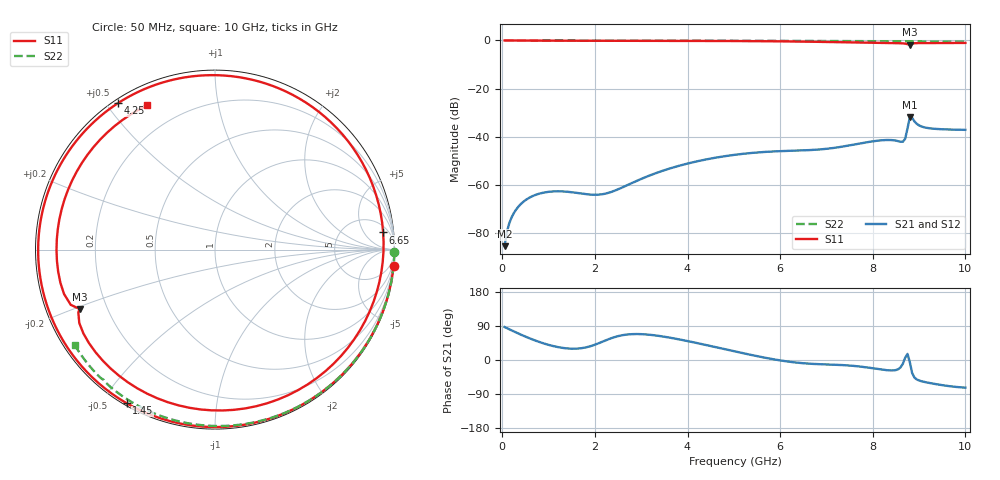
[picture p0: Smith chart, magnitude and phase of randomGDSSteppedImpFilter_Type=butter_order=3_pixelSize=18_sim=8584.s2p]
! freq	dB(S11)	phase(S11)	dB(S12)	phase(S12)
!  dB(S21)	phase(S21)	dB(S22)	phase(S22)
!S-par simulation data
#  GHz  S  DB  R 50
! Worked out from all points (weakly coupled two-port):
!   200 points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, 50 MHz to 10 GHz, reference 50 ohm
!   highest |S21| = -31.89 dB at 8.8 GHz (marker M1); lowest = -85.3 dB at 50 MHz (marker M2)
!   lowest |S11| = -1.7 dB at 8.8 GHz (marker M3), VSWR 10.37, Z = 5.03 - j10.4 ohm
!   |S11| at or under -10 dB: nowhere
!   |S22| runs from -0.5 to 0.0 dB; largest |S21 - S12| = 0
!   S11 on the Smith chart (normalised r, x): 50 MHz: 0, -22; 1.45 GHz: 0.01, -0.58; 4.25 GHz: 0.01, +0.54; 6.65 GHz: 9, +15; 10 GHz: 0.08, +0.63
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0.05  -0.00 -5.1  -85.34 87.0  -85.34 87.0  -0.00 -0.9
0.35  -0.05 -35.1  -68.89 69.7  -68.89 69.7  -0.01 -5.9
0.7  -0.08 -66.8  -64.19 51.9  -64.19 51.9  -0.02 -11.8
1.05  -0.10 -94.1  -62.69 38.3  -62.69 38.3  -0.02 -17.7
1.45  -0.11 -119.9  -62.85 30.1  -62.85 30.1  -0.03 -24.3
1.75  -0.11 -136.4  -63.62 31.9  -63.62 31.9  -0.04 -29.2
2.5  -0.12 -170.5  -61.75 63.0  -61.75 63.0  -0.05 -41.4
3.4  -0.15 155.1  -54.47 63.3  -54.47 63.3  -0.07 -55.5
4.25  -0.19 123.6  -49.96 43.6  -49.96 43.6  -0.10 -68.4
5.05  -0.25 91.2  -47.36 21.9  -47.36 21.9  -0.12 -80.2
5.85  -0.34 53.0  -46.05 2.0  -46.05 2.0  -0.16 -91.5
6.65  -0.52 5.8  -45.47 -9.9  -45.47 -9.9  -0.20 -102.4
6.7  -0.54 2.5  -45.42 -10.2  -45.42 -10.2  -0.20 -103.1
7.15  -0.68 -29.0  -44.60 -12.3  -44.60 -12.3  -0.23 -109.1
7.65  -0.86 -67.2  -42.99 -16.3  -42.99 -16.3  -0.26 -115.7
8  -0.97 -95.1  -41.84 -21.8  -41.84 -21.8  -0.29 -120.3
8.35  -1.07 -123.3  -41.29 -27.4  -41.29 -27.4  -0.32 -124.8
8.65  -1.22 -147.5  -42.04 -9.8  -42.04 -9.8  -0.35 -128.7
8.7  -1.31 -151.6  -40.74 6.2  -40.74 6.2  -0.37 -129.4
8.8  -1.68 -156.4  -31.89 -5.7  -31.89 -5.7  -0.41 -130.5
9.3  -1.08 165.2  -36.59 -62.3  -36.59 -62.3  -0.41 -136.9
10  -1.03 115.1  -37.09 -72.9  -37.09 -72.9  -0.49 -145.9
